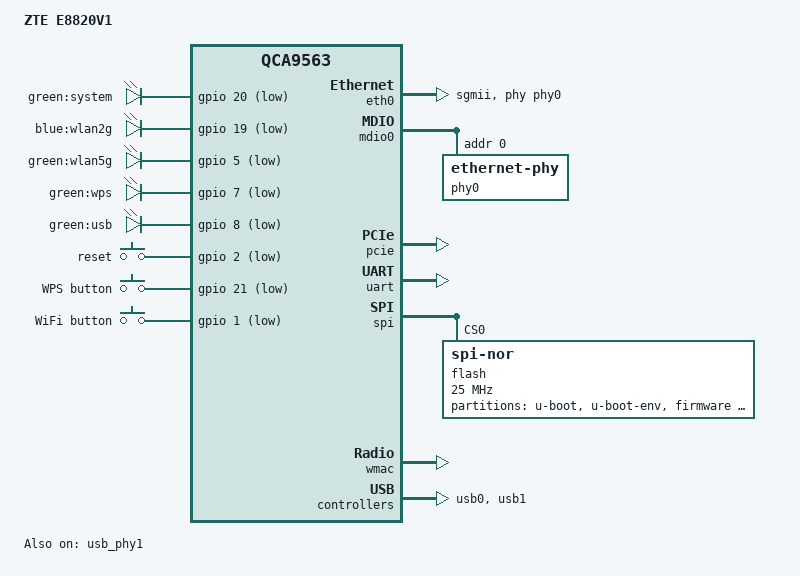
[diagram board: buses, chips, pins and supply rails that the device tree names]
// SPDX-License-Identifier: GPL-2.0-or-later OR MIT

#include "qca956x.dtsi"

#include <dt-bindings/gpio/gpio.h>
#include <dt-bindings/input/input.h>

/ {
	compatible = "zte,e8820v1", "qca,qca9563";
	model = "ZTE E8820V1";

	aliases {
		label-mac-device = &eth0;
		led-boot = &led_system;
		led-failsafe = &led_system;
		led-running = &led_system;
		led-upgrade = &led_system;
	};


	leds {
		compatible = "gpio-leds";

		led_system: system {
			label = "green:system";
			gpios = <&gpio 20 GPIO_ACTIVE_LOW>;
			default-state = "keep";
		};

		wlan2g {
			label = "blue:wlan2g";
			gpios = <&gpio 19 GPIO_ACTIVE_LOW>;
			linux,default-trigger = "phy1tpt";
		};

		wlan5g {
			label = "green:wlan5g";
			gpios = <&gpio 5 GPIO_ACTIVE_LOW>;
			linux,default-trigger = "phy0tpt";
		};
		
		wps {
			label = "green:wps";
			gpios = <&gpio 7 GPIO_ACTIVE_LOW>;
		};
		
		usb {
			label = "green:usb";
			gpios = <&gpio 8 GPIO_ACTIVE_LOW>;
			trigger-sources = <&hub_port0>,<&hub_port1>;
			linux,default-trigger = "usbport";
		};
	};

	keys {
		compatible = "gpio-keys";

		reset {
			linux,code = <KEY_RESTART>;
			gpios = <&gpio 2 GPIO_ACTIVE_LOW>;
			debounce-interval = <60>;
		};
		
		wps {
			label = "WPS button";
			linux,code = <KEY_WPS_BUTTON>;
			gpios = <&gpio 21 GPIO_ACTIVE_LOW>;
			debounce-interval = <60>;
		};
		
		wifi {
			label = "WiFi button";
			linux,code = <KEY_RFKILL>;
			gpios = <&gpio 1 GPIO_ACTIVE_LOW>;
			linux,input-type = <EV_SW>;
			debounce-interval = <60>;
		};
	};
};

&eth0 {
	status = "okay";

	pll-data = <0x03000101 0x00000101 0x00001919>;
	phy-mode = "sgmii";
	phy-handle = <&phy0>;
	mtd-mac-address = <&art 0x0>;
};

&mdio0 {
	status = "okay";

	phy-mask = <0>;
	phy0: ethernet-phy@0 {
		reg = <0>;
		phy-mode = "sgmii";

		qca,ar8327-initvals = <
			0x04 0x00080080 /* PORT0 PAD MODE CTRL */
			0x7c 0x0000007e /* PORT0_STATUS */
		>;
	};
};

&pcie {
	status = "okay";
};

&uart {
	status = "okay";
};

&gpio {
	status = "okay";
};

&spi {
	status = "okay";

	flash@0 {
		compatible = "jedec,spi-nor";
		reg = <0>;
		spi-max-frequency = <25000000>;

		partitions {
			compatible = "fixed-partitions";
			#address-cells = <1>;
			#size-cells = <1>;

			partition@0 {
				label = "u-boot";
				reg = <0x000000 0x040000>;
				read-only;
			};

			partition@40000 {
				label = "u-boot-env";
				reg = <0x040000 0x010000>;
				read-only;
			};

			partition@50000 {
				compatible = "denx,uimage";
				label = "firmware";
				reg = <0x050000 0xf90000>;
			};

			partition@fe0000 {
				label = "mib0";
				reg = <0xfe0000 0x010000>;
				read-only;
			};

			art: partition@ff0000 {
				label = "art";
				reg = <0xff0000 0x010000>;
				read-only;
			};
		};
	};
};

&wmac {
	status = "okay";

	mtd-cal-data = <&art 0x1000>;
	mtd-mac-address = <&art 0x1002>;
};

&usb0 {
	#address-cells = <1>;
	#size-cells = <0>;
	status = "okay";

	hub_port0: port@1 {
		reg = <1>;
		#trigger-source-cells = <0>;
	};
};

&usb_phy1 {
	status = "okay";
};

&usb1 {
	#address-cells = <1>;
	#size-cells = <0>;
	status = "okay";

	hub_port1: port@1 {
		reg = <1>;
		#trigger-source-cells = <0>;
	};
};


